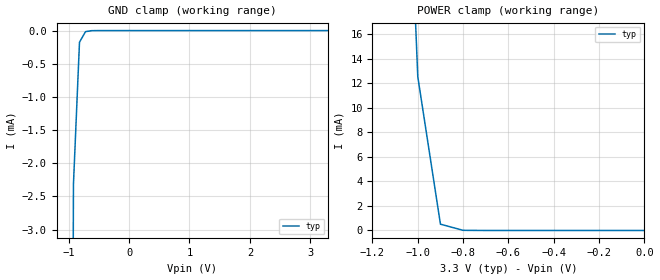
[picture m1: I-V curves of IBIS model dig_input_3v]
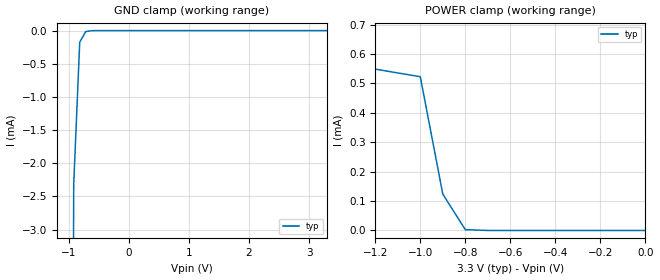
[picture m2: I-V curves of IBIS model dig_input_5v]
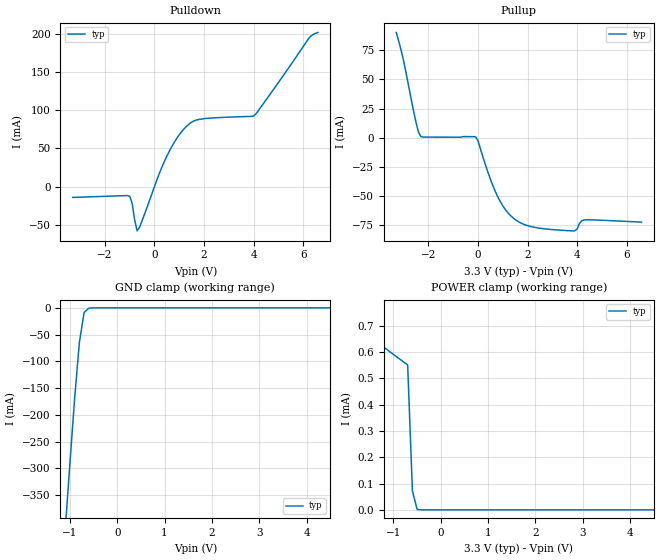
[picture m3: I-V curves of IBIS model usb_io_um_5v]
| IBIS file adum4160_full.ibs
| created by Eric Gaalaas for Analog Devices
[IBIS ver]   4.0
[File name]   adum4160_full.ibs
[File Rev]   2.0
[Date]   Feb 20, 2010
[Source]   Analog Devices, Inc
[Notes]   Models ADuM4160 I/O for USB 2.0 'full' speed (12 Mbps).
   The USB 2.0 'low' speed (1.5 Mbps) is not modelled.
   Only 1 power supply configuration for pins 1-8 is supported:
   the one in which VBUS1 is powered with 5.0 V, and an
   on-chip regulator derives VDD1 = 3.3 V from VBUS1.
   2 power supply configurations for pins 9-16 are supported:
   (A) VBUS2 powered with 5.0 V, on-chip reg derives VDD2 = 3.3 V.
   (B) VBUS2 and VDD2 connected externally and powered with 3.3 V.
   ...(on-chip VDD2 regulator is disabled).
   For configuration (A),
   select the usb_io_dx_5v models for pins 10-11, and
   select the dig_input_5v models for pins 12-13.
   For configuration (B),
   select the usb_io_dx_3v models for pins 10-11, and
   select the dig_input_3v models for pins 12-13.
[Disclaimer]  This file is only for reference purposes, no guarantee
   for data sheet performance
[Copyright]   Copyright 2010 Analog Devices, Inc.
|   Component ADuM4160
[Component]   ADuM4160
[Manufacturer]   Analog Devices, Inc.
[Package]
| variable   typ   min   max
R_pkg   0.1   0.05   0.2
L_pkg   1.25nH   0.625nH   2.50nH
C_pkg   1.00pF   0.50pF   2.00pF
[Pin]  signal_name   model_name   R_pin   L_pin   C_pin
1   VBUS1   POWER
2   GND1   GND
3   VDD1   POWER
4   PDEN   dig_input_5v
5   SPU   dig_input_5v
6   UDm   usb_io_um_5v
7   UDp   usb_io_up_5v
8   GND1   GND
9   GND2   GND
10   DDp   usb_io_selector
11   DDm   usb_io_selector
12   PIN   dig_input_selector
13   SPD   dig_input_selector
14   VDD2   POWER
15   GND2   GND
16   VBUS2   POWER
[Pin Mapping] pulldown_ref pullup_ref gnd_clamp_ref power_clamp_ref ext_ref
1   NC   VBUS1   | 5.0 V supply pin
2   GND1   NC   | ground pin
3   NC   VDD1   | 3.3 V supply pin
4   GND1   VDD1   GND1   VDD1
5   GND1   VDD1   GND1   VDD1
6   GND1   VDD1   GND1   VDD1
7   GND1   VDD1   GND1   VDD1
8   GND1   NC   | ground pin
9   GND2   NC   | ground pin
10   GND2   VDD2   GND2   VDD2
11   GND2   VDD2   GND2   VDD2
12   GND2   VDD2   GND2   VDD2
13   GND2   VDD2   GND2   VDD2
14   NC   VDD2   | 3.3 V supply pin
15   GND2   NC   | ground pin
16   NC   VBUS2   | 5.0 V supply pin
[Diff Pin]  inv_pin  vdiff  tdelay_typ tdelay_min tdelay_max
  10   11   200mV  0ns   NA   NA
[Model selector] usb_io_selector
usb_io_dx_3v   USB DD+/DD- I/O model for VDD2 = VBUS2 = 3.3 V
usb_io_dx_5v   USB DD+/DD- I/O model for VBUS2 = 5.0 V
[Model selector] dig_input_selector
dig_input_3v   digital input model for VDD = VBUS = 3.3 V
dig_input_5v   digital input model for VBUS = 5.0 V
| Models and submodels in the file (6): dig_input_3v (Input), dig_input_5v (Input), usb_io_um_5v (I/O), usb_io_up_5v (I/O), usb_io_dx_3v (I/O), usb_io_dx_5v (I/O)
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|   Model dig_input_3v
| Models digital input with PWR clamp connected to VBUS = VDD = 3.3 V.
| (On-chip VDD voltage regulator is disabled).
[Model]   dig_input_3v
Model_type   Input
Vinl =   0.80V
Vinh =   2.00V
C_comp   1.00pF   1.00pF   1.00pF
[Temperature Range]   27.00   125.00   -40.00
[Voltage Range]   3.30V   3.00V   3.60V
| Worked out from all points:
|   GND clamp passes 1 mA (typ) near -0.86 V on its own axis
|   POWER clamp passes 1 mA (typ) near -0.90 V on its own axis
[GND_clamp]
| voltage(V) I(typ)(A)   I(min)(A)   I(max)(A)
-3.32V    -2.097A    NA         NA
-1.02V    -30.09mA   NA         NA
-920mV    -2.318mA   NA         NA
-820mV    -175.4uA   NA         NA
-720mV    -15.92uA   NA         NA
-520mV    -80.59nA   NA         NA
3.3V      0A         NA         NA
[POWER_clamp]
| Note that the[POWER_clamp]voltage table is referenced to Vcc
| and is calculated using Vtable = Vcc - Vmeasured.
| voltage(V) I(typ)(A)   I(min)(A)   I(max)(A)
-3.3V     1.432A     NA         NA
-1.1V     57.64mA    NA         NA
-1V       12.54mA    NA         NA
-900mV    514uA      NA         NA
-800mV    12.06uA    NA         NA
0V        0A         NA         NA
|   Model dig_input_5v
| Models digital input with PWR clamp connected to on-chip regulator 3.3 V.
| Regulator is powered from VBUS = 5.0 V.
[Model]   dig_input_5v
Model_type   Input
Vinl =   0.80V
Vinh =   2.00V
C_comp   1.00pF   1.00pF   1.00pF
[Temperature Range]   27.00   125.00   -40.00
[Voltage Range]   3.30V   3.00V   3.60V
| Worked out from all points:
|   GND clamp passes 1 mA (typ) near -0.86 V on its own axis
|   POWER clamp passes 1 mA (typ) near -3.18 V on its own axis
[GND_clamp]
| voltage(V) I(typ)(A)   I(min)(A)   I(max)(A)
-3.32V    -2.097A    NA         NA
-1.02V    -30.1mA    NA         NA
-920mV    -2.319mA   NA         NA
-820mV    -175.4uA   NA         NA
-720mV    -15.92uA   NA         NA
-520mV    -80.62nA   NA         NA
3.3V      0A         NA         NA
[POWER_clamp]
| Note that the[POWER_clamp]voltage table is referenced to Vcc
| and is calculated using Vtable = Vcc - Vmeasured.
| voltage(V) I(typ)(A)   I(min)(A)   I(max)(A)
-3.3V     3.575mA    NA         NA
-2.2V     681.9uA    NA         NA
-1V       523.1uA    NA         NA
-900mV    123.8uA    NA         NA
-800mV    2.789uA    NA         NA
-700mV    58.95nA    NA         NA
0V        0A         NA         NA
|   Model usb_io_um_5v
| Models USB I/O pin UD- with PWR clamp connected to VBUS1 = 5.0 V.
| (On-chip VDD1 voltage regulator is enabled).
| This model includes NO pulldown or pullup resistance in its clamps,
| ...and thus is used for the UD- pin ONLY (and not UD+).
[Model]   usb_io_um_5v
Model_type   I/O
Polarity   Non-Inverting
Vinl = 0.8V
Vinh = 2.0V
Vmeas = 1.5V
Cref = 50pF
Rref = 1e6
Vref = 0
C_comp   1.00pF   1.00pF   1.00pF
[Temperature Range]   27.00   125.00   -40.00
[Voltage Range]   3.30V   3.00V   3.60V
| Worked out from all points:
|   slope of the pulldown table from 0 to 0.495 V, typ, clamps not added: 12.5 ohm
|   slope of the pullup table from 0 to 0.495 V, typ, clamps not added: 15.1 ohm
|   GND clamp passes 1 mA (typ) near -0.60 V on its own axis
|   POWER clamp passes 1 mA (typ) near -2.91 V on its own axis
[GND_clamp]
| voltage(V) I(typ)(A)   I(min)(A)   I(max)(A)
-3.3V     -3.268A    NA         NA
-1.1V     -415.6mA   NA         NA
-1V       -290.4mA   NA         NA
-900mV    -169.2mA   NA         NA
-800mV    -64.81mA   NA         NA
-700mV    -8.732mA   NA         NA
-600mV    -598.5uA   NA         NA
6.6V      0A         NA         NA
[POWER_clamp]
| Note that the[POWER_clamp]voltage table is referenced to Vcc
| and is calculated using Vtable = Vcc - Vmeasured.
| voltage(V) I(typ)(A)   I(min)(A)   I(max)(A)
-3.3V     11.96mA    NA         NA
-2.3V     771.3uA    NA         NA
-700mV    551.3uA    NA         NA
-600mV    71.86uA    NA         NA
-500mV    1.71uA     NA         NA
6.6V      0A         NA         NA
[Pulldown]
| voltage(V) I(typ)(A)   I(min)(A)   I(max)(A)
-3.3V     -14.18mA   NA         NA
-1V       -12.71mA   NA         NA
-900mV    -21.94mA   NA         NA
-800mV    -43.63mA   NA         NA
-700mV    -58.02mA   NA         NA
400mV     32.86mA    NA         NA
800mV     58.02mA    NA         NA
1.2V      75.8mA     NA         NA
1.8V      88.01mA    NA         NA
4V        92.37mA    NA         NA
6.2V      192.8mA    NA         NA
6.6V      201.9mA    NA         NA
[Pullup]
| Note that the[Pullup]voltage table is referenced to Vcc
| and is calculated using Vtable = Vcc - Vmeasured.
| voltage(V) I(typ)(A)   I(min)(A)   I(max)(A)
-3.3V     90.46mA    NA         NA
-3V       65.74mA    NA         NA
-2.5V     12.74mA    NA         NA
-2.3V     731.4uA    NA         NA
-100mV    758.4uA    NA         NA
800mV     -51.11mA   NA         NA
1.1V      -61.87mA   NA         NA
1.5V      -70.57mA   NA         NA
2.3V      -77.35mA   NA         NA
3.8V      -80.31mA   NA         NA
4.3V      -70.87mA   NA         NA
6.6V      -72.78mA   NA         NA
[Ramp]
|variable   typ   min   max
dV/dt_r   1.980/5.0n   NA   NA
dV/dt_f   1.980/5.0n   NA   NA
R_load = 1MEG
| End [Model] usb_io_um_5v
